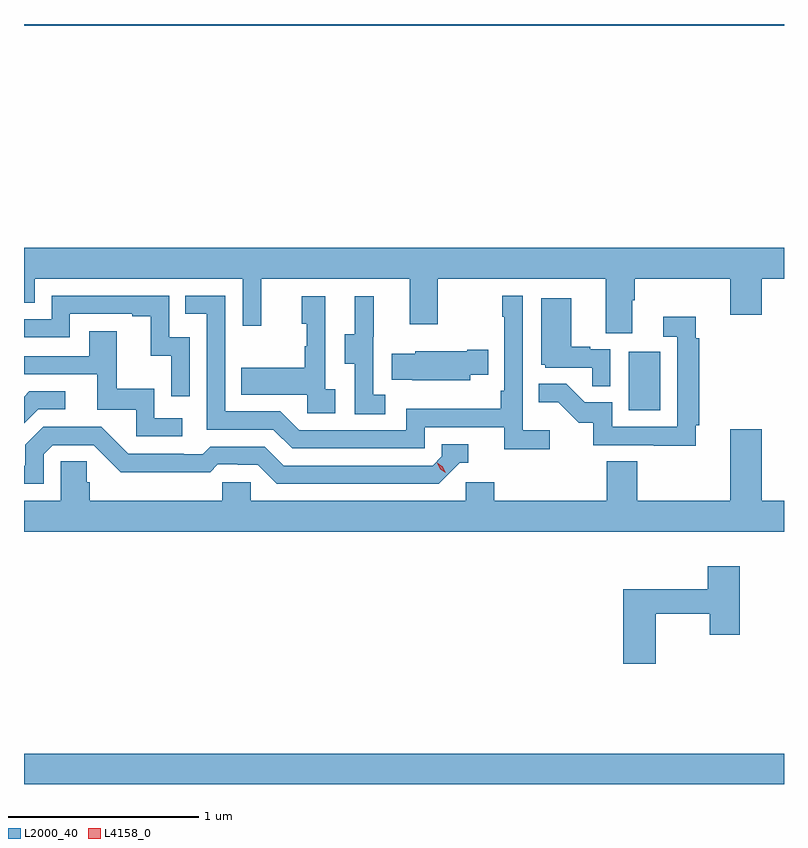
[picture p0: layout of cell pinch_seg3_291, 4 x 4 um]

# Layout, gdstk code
import gdstk
lib = gdstk.Library(unit=1e-6, precision=1e-09)
def R(c, l, rs):  # rectangles x0, y0, x1, y1
    for r in rs: c.add(gdstk.rectangle(r[:2], r[2:], *l))
def P(c, l, *ps):  # polygons
    for p in ps: c.add(gdstk.Polygon(p, *l))
L2000_40 = (2000, 40)
L4158_0 = (4158, 0)

pinch_seg3_291 = lib.new_cell('pinch_seg3_291')
R(pinch_seg3_291, L2000_40, [(952.498,720.901,956.498,721.06), (955.682,722.868,955.846,723.175), (952.498,724.892,956.498,724.901)])
P(pinch_seg3_291, L2000_40, [(955.699,723.448),(955.712,723.448),(955.712,723.56),(956.216,723.56),(956.216,723.372),(956.38,723.372),(956.38,723.56),(956.498,723.56),(956.498,723.724),(952.498,723.724),(952.498,723.433),(952.554,723.433),(952.554,723.56),(953.649,723.56),(953.649,723.312),(953.747,723.312),(953.747,723.56),(954.527,723.56),(954.527,723.321),(954.675,723.321),(954.675,723.56),(955.559,723.56),(955.559,723.274),(955.699,723.274)],
  [(955.264,722.764),(955.122,722.764),(955.122,723.472),(955.014,723.472),(955.014,723.359),(955.026,723.359),(955.026,722.971),(955.006,722.971),(955.006,722.875),(954.51,722.875),(954.51,722.763),(953.946,722.763),(953.847,722.862),(953.556,722.862),(953.556,723.471),(953.347,723.471),(953.347,723.375),(953.46,723.375),(953.46,722.766),(953.81,722.766),(953.909,722.667),(954.606,722.667),(954.606,722.778),(955.025,722.778),(955.025,722.662),(955.264,722.662)],
  [(953.37,723.252),(953.262,723.252),(953.262,723.471),(952.644,723.471),(952.644,723.348),(952.498,723.348),(952.498,723.252),(952.74,723.252),(952.74,723.375),(953.069,723.375),(953.069,723.363),(953.165,723.363),(953.165,723.155),(953.274,723.155),(953.274,722.943),(953.37,722.943)],
  [(954.4,722.951),(954.336,722.951),(954.336,723.255),(954.338,723.255),(954.338,723.469),(954.239,723.469),(954.239,723.267),(954.185,723.267),(954.185,723.112),(954.24,723.112),(954.24,722.848),(954.4,722.848)],
  [(954.136,722.978),(954.084,722.978),(954.084,723.469),(953.96,723.469),(953.96,723.324),(953.986,723.324),(953.986,723.206),(953.976,723.206),(953.976,723.091),(953.641,723.091),(953.641,722.951),(953.988,722.951),(953.988,722.853),(954.136,722.853)],
  [(955.584,723.189),(955.478,723.189),(955.478,723.202),(955.378,723.202),(955.378,723.457),(955.22,723.457),(955.22,723.108),(955.242,723.108),(955.242,723.093),(955.489,723.093),(955.489,722.995),(955.584,722.995)],
  [(956.033,722.788),(956.051,722.788),(956.051,723.248),(956.033,723.248),(956.033,723.361),(955.863,723.361),(955.863,723.255),(955.935,723.255),(955.935,722.781),(955.593,722.781),(955.593,722.91),(955.449,722.91),(955.351,723.008),(955.207,723.008),(955.207,722.909),(955.311,722.909),(955.418,722.802),(955.495,722.802),(955.495,722.685),(955.813,722.685),(955.813,722.68),(956.033,722.68)],
  [(953.332,722.826),(953.184,722.826),(953.184,722.98),(952.985,722.98),(952.985,723.283),(952.841,723.283),(952.841,723.153),(952.498,723.153),(952.498,723.057),(952.883,723.057),(952.883,722.871),(953.088,722.871),(953.088,722.73),(953.332,722.73)],
  [(954.847,723.056),(954.941,723.056),(954.941,723.186),(954.83,723.186),(954.83,723.178),(954.558,723.178),(954.558,723.166),(954.433,723.166),(954.433,723.029),(954.541,723.029),(954.541,723.026),(954.847,723.026)],
  [(952.572,722.874),(952.714,722.874),(952.714,722.967),(952.526,722.967),(952.498,722.939),(952.498,722.8)],
  [(952.602,722.637),(952.65,722.685),(952.866,722.685),(953.008,722.543),(953.244,722.543),(953.244,722.541),(953.477,722.541),(953.519,722.583),(953.622,722.583),(953.622,722.58),(953.729,722.58),(953.828,722.481),(954.681,722.481),(954.792,722.592),(954.835,722.592),(954.835,722.688),(954.696,722.688),(954.696,722.625),(954.648,722.577),(953.865,722.577),(953.766,722.676),(953.477,722.676),(953.438,722.637),(953.339,722.637),(953.339,722.64),(953.046,722.64),(952.905,722.781),(952.599,722.781),(952.505,722.687),(952.505,722.577),(952.498,722.577),(952.498,722.481),(952.602,722.481)],
  [(955.565,722.6),(955.565,722.392),(954.974,722.392),(954.974,722.49),(954.822,722.49),(954.822,722.392),(953.691,722.392),(953.691,722.49),(953.541,722.49),(953.541,722.392),(952.844,722.392),(952.844,722.49),(952.829,722.49),(952.829,722.6),(952.692,722.6),(952.692,722.392),(952.498,722.392),(952.498,722.228),(956.498,722.228),(956.498,722.392),(956.38,722.392),(956.38,722.767),(956.216,722.767),(956.216,722.392),(955.725,722.392),(955.725,722.6)],
  [(955.822,721.798),(956.108,721.798),(956.108,721.686),(956.266,721.686),(956.266,722.047),(956.096,722.047),(956.096,721.927),(955.652,721.927),(955.652,721.533),(955.822,721.533)])
P(pinch_seg3_291, L4158_0, [(954.719,722.539),(954.688,722.558),(954.672,722.591),(954.672,722.591),(954.673,722.591),(954.703,722.572),(954.719,722.539),(954.719,722.539)])

lib.write_gds('pinch_seg3_291.gds')
